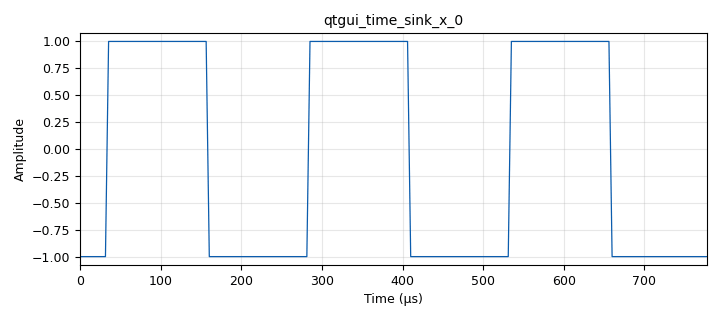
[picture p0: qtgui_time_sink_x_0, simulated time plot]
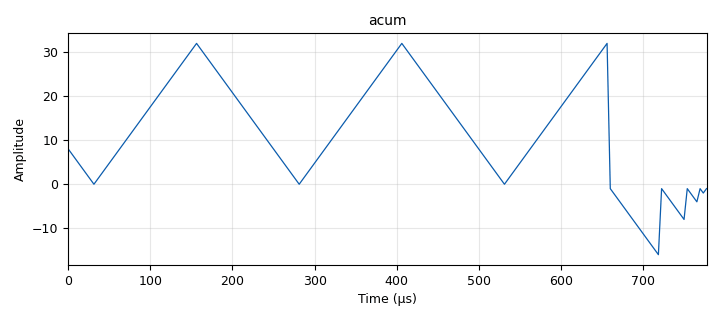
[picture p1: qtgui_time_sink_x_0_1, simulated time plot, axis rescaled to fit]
options:
  parameters:
    author: A1G
    generate_options: qt_gui
    id: untitled
    output_language: python
    title: Practica_1
  states: {}

blocks:
- name: samp_rate
  id: variable
  parameters:
    value: '256000'
  states: {}
- name: analog_sig_source_x_0
  id: analog_sig_source_x
  parameters:
    amp: '1'
    freq: '1000'
    offset: '0'
    phase: '0'
    samp_rate: samp_rate
    type: float
    waveform: analog.GR_COS_WAVE
  states: {state: disabled}
- name: blocks_throttle2_0
  id: blocks_throttle2
  parameters:
    samples_per_second: samp_rate
    type: float
  states: {}
- name: blocks_throttle2_0_0
  id: blocks_throttle2
  parameters:
    samples_per_second: samp_rate
    type: float
  states: {}
- name: blocks_vector_source_x_0
  id: blocks_vector_source_x
  parameters:
    repeat: 'True'
    type: float
    vector: (1, 1, 1, 1,1, 1, 1, 1,1, 1, 1, 1,1, 1, 1, 1,1, 1, 1, 1,1, 1, 1, 1,1, 1, 1, 1,1, 1, 1, 1,-1, -1, -1, -1,-1, -1, -1, -1,-1, -1, -1, -1,-1, -1, -1, -1,-1, -1, -1, -1,-1, -1, -1, -1,-1, -1, -1, -1,-1, -1, -1, -1)
  states: {}
- name: epy_block_0
  id: epy_block
  parameters:
    _source_code: |
      """
      cosa:

      Each time this file is saved, GRC will instantiate the first class it finds
      to get ports and parameters of your block. The arguments to __init__  will
      be the parameters. All of them are required to have default values!
      """

      import numpy as np
      from gnuradio import gr


      class blk(gr.sync_block):  # other base classes are basic_block, 

          def __init__(self):  # only default arguments here
          	gr. sync_block . __init__ (
      			self ,
      			name ="e_Diff ", # will show up in GRC
      			in_sig =[ np. float32 ],
      			out_sig =[ np. float32 ]
      )
      		
      def work (self , input_items , output_items ):
      	x = input_items [0] # Senial de entrada .
      	y0 = output_items [0] # Senial acumulada diferencial
      	N = len (x)
      	diff = np. cumsum (x) - self . acum_anterior
      	self . acum_anterior = diff [N -1]
      	y0 [:] = diff
      	return len (y0)
    alias: kkkk
  states: {}
- name: epy_block_1
  id: epy_block
  parameters:
    _source_code: |
      """
      Embedded Python Blocks:

      Each time this file is saved, GRC will instantiate the first class it finds
      to get ports and parameters of your block. The arguments to __init__  will
      be the parameters. All of them are required to have default values!
      """

      import numpy as np
      from gnuradio import gr

      class blk (gr. sync_block ):
          def __init__ ( self ) : # only default arguments here
              gr. sync_block . __init__ (
              self ,
              name ="e_Acum", # will show up in GRC
              in_sig =[ np. float32 ],
              out_sig =[ np. float32 ]
      )
          def work (self , input_items , output_items ):
              x = input_items [0] # Senial de entrada .
              y0 = output_items [0] # Senial acumulada
              
              y0 [:] = np. cumsum (x)
              return len (y0)
  states: {}
- name: qtgui_time_sink_x_0
  id: qtgui_time_sink_x
  parameters:
    size: '200'
    srate: samp_rate
    type: float
  states: {}
- name: qtgui_time_sink_x_0_0
  id: qtgui_time_sink_x
  parameters:
    alias: Diff
    name: '"diff"'
    size: '200'
    srate: samp_rate
    type: float
  states: {}
- name: qtgui_time_sink_x_0_1
  id: qtgui_time_sink_x
  parameters:
    alias: Acum
    name: '"acum"'
    size: '200'
    srate: samp_rate
    type: float
  states: {}

connections:
- [blocks_throttle2_0, '0', qtgui_time_sink_x_0_0, '0']
- [blocks_throttle2_0_0, '0', qtgui_time_sink_x_0_1, '0']
- [blocks_vector_source_x_0, '0', epy_block_0, '0']
- [blocks_vector_source_x_0, '0', epy_block_1, '0']
- [blocks_vector_source_x_0, '0', qtgui_time_sink_x_0, '0']
- [epy_block_0, '0', blocks_throttle2_0, '0']
- [epy_block_1, '0', blocks_throttle2_0_0, '0']

metadata:
  file_format: 1
  grc_version: 3.10.12.0
